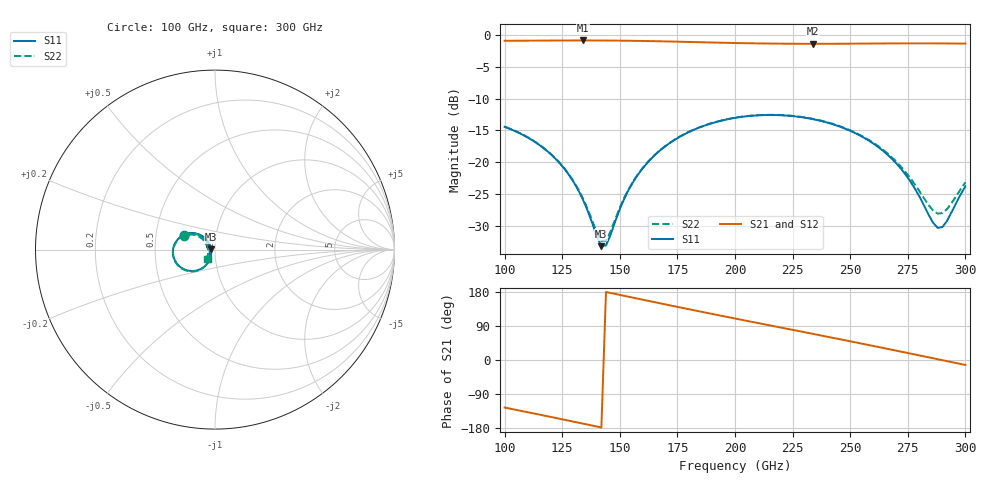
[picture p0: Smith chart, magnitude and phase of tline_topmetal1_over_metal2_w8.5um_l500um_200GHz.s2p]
#  GHZ S DB R 50
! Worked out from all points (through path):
!   101 points, 100 GHz to 300 GHz, reference 50 ohm
!   highest |S21| = -0.84 dB at 134 GHz (marker M1); lowest = -1.4 dB at 234 GHz (marker M2)
!   group delay of S21, straight-line fit = 3.42 ps
!   lowest |S11| = -33.2 dB at 142 GHz (marker M3), VSWR 1.04, Z = 47.9 + j0.186 ohm
!   |S11| at or under -10 dB: start of sweep to end of sweep
!   |S22| runs from -32.4 to -12.5 dB; largest |S21 - S12| = 1e-13
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100  -14.44 155.3  -0.89 -125.5  -0.89 -125.5  -14.42 156.4
110  -16.12 144.5  -0.88 -137.8  -0.88 -137.8  -16.08 145.9
120  -18.75 135.0  -0.86 -150.2  -0.86 -150.2  -18.70 136.8
128  -22.05 130.2  -0.85 -160.3  -0.85 -160.3  -21.96 132.5
134  -25.90 131.9  -0.84 -167.9  -0.84 -167.9  -25.71 134.9
142  -33.23 174.9  -0.85 -178.0  -0.85 -178.0  -32.40 176.7
144  -33.12 -160.1  -0.86 179.4  -0.86 179.4  -32.33 -160.7
152  -25.70 -119.5  -0.88 169.2  -0.88 169.2  -25.55 -120.6
156  -23.00 -117.7  -0.90 164.2  -0.90 164.2  -22.91 -118.2
168  -18.00 -124.6  -0.98 149.0  -0.98 149.0  -17.96 -124.3
182  -14.93 -138.4  -1.10 131.5  -1.10 131.5  -14.90 -137.6
200  -13.04 -157.7  -1.24 109.5  -1.24 109.5  -13.01 -156.4
216  -12.58 -175.0  -1.33 90.3  -1.33 90.3  -12.55 -173.2
234  -13.25 165.9  -1.37 68.7  -1.37 68.7  -13.20 168.3
252  -15.41 147.8  -1.35 46.9  -1.35 46.9  -15.32 151.2
268  -19.44 135.5  -1.31 27.2  -1.31 27.2  -19.22 140.8
276  -22.97 134.8  -1.30 17.2  -1.30 17.2  -22.47 141.9
284  -28.25 151.4  -1.30 7.1  -1.30 7.1  -26.74 159.5
288  -30.35 178.3  -1.31 2.0  -1.31 2.0  -28.11 -178.9
290  -30.23 -164.8  -1.31 -0.5  -1.31 -0.5  -28.03 -166.3
292  -29.26 -150.3  -1.32 -3.0  -1.32 -3.0  -27.41 -154.9
300  -23.80 -126.6  -1.34 -13.1  -1.34 -13.1  -23.18 -131.8
